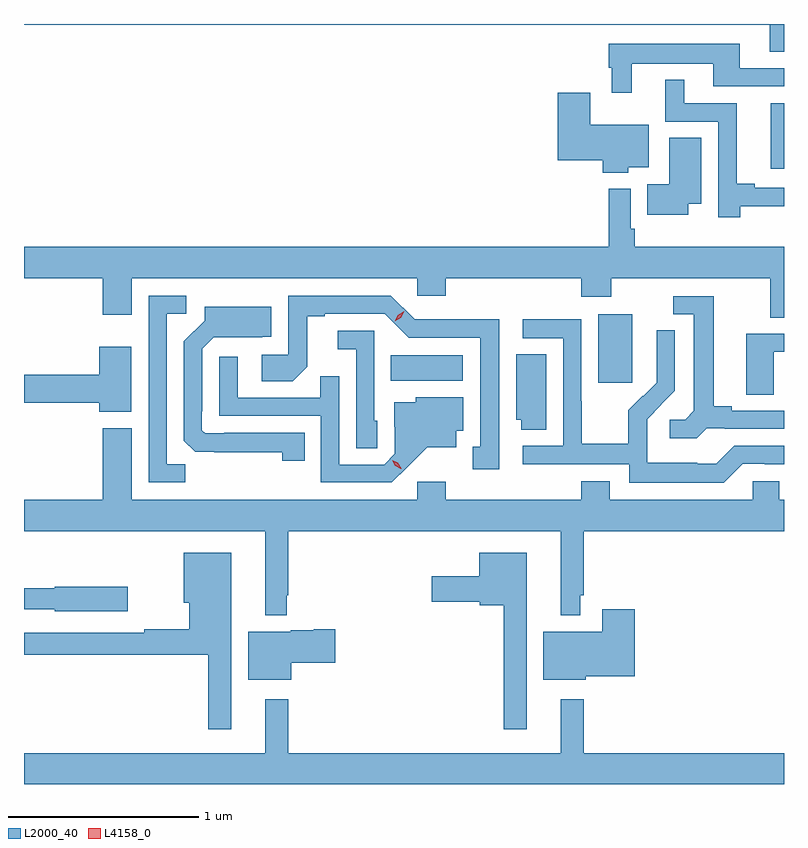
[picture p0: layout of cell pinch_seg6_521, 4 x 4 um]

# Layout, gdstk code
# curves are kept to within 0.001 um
import gdstk
lib = gdstk.Library(unit=1e-6, precision=1e-09)
def R(c, l, rs):  # rectangles x0, y0, x1, y1
    for r in rs: c.add(gdstk.rectangle(r[:2], r[2:], *l))
def P(c, l, *ps):  # polygons
    for p in ps: c.add(gdstk.Polygon(p, *l))
L2000_40 = (2000, 40)
L4158_0 = (4158, 0)

pinch_seg6_521 = lib.new_cell('pinch_seg6_521')
R(pinch_seg6_521, L2000_40, [(768.275,941.457,768.454,941.818), (767.182,941.468,767.563,941.602), (769.184,942.584,769.253,942.928)])
P(pinch_seg6_521, L2000_40, [(769.253,943.345),(765.253,943.345),(765.253,943.34),(769.178,943.34),(769.178,943.198),(769.253,943.198)],
  [(768.451,943.136),(768.881,943.136),(768.881,943.017),(769.253,943.017),(769.253,943.113),(769.021,943.113),(769.021,943.24),(768.33,943.24),(768.33,943.116),(768.347,943.116),(768.347,942.984),(768.451,942.984)],
  [(769.022,942.386),(769.253,942.386),(769.253,942.483),(769.099,942.483),(769.099,942.503),(769.004,942.503),(769.004,942.927),(768.727,942.927),(768.727,943.051),(768.629,943.051),(768.629,942.831),(768.906,942.831),(768.906,942.327),(769.022,942.327)],
  [(768.432,942.59),(768.541,942.59),(768.541,942.814),(768.232,942.814),(768.232,942.982),(768.062,942.982),(768.062,942.629),(768.299,942.629),(768.299,942.563),(768.432,942.563)],
  [(768.748,942.398),(768.817,942.398),(768.817,942.746),(768.65,942.746),(768.65,942.502),(768.532,942.502),(768.532,942.341),(768.748,942.341)],
  [(769.253,942.172),(768.467,942.172),(768.467,942.268),(768.447,942.268),(768.447,942.478),(768.331,942.478),(768.331,942.172),(765.253,942.172),(765.253,942.008),(765.668,942.008),(765.668,941.814),(765.82,941.814),(765.82,942.008),(767.322,942.008),(767.322,941.915),(767.474,941.915),(767.474,942.008),(768.185,942.008),(768.185,941.909),(768.345,941.909),(768.345,942.008),(769.181,942.008),(769.181,941.8),(769.253,941.8)],
  [(766.101,941.027),(766.005,941.027),(766.005,941.82),(766.108,941.82),(766.108,941.916),(765.909,941.916),(765.909,940.932),(766.101,940.932)],
  [(767.755,941.792),(767.532,941.792),(767.532,941.79),(767.31,941.79),(767.184,941.916),(766.644,941.916),(766.644,941.604),(766.503,941.604),(766.503,941.464),(766.667,941.464),(766.743,941.54),(766.743,941.808),(766.837,941.808),(766.837,941.82),(767.151,941.82),(767.277,941.694),(767.654,941.694),(767.654,941.121),(767.615,941.121),(767.615,941.001),(767.755,941.001)],
  [(768.846,941.217),(768.94,941.217),(768.94,941.214),(769.253,941.214),(769.253,941.31),(768.979,941.31),(768.979,941.333),(768.883,941.333),(768.883,941.913),(768.669,941.913),(768.669,941.817),(768.779,941.817),(768.779,941.309),(768.732,941.262),(768.651,941.262),(768.651,941.165),(768.794,941.165)],
  [(766.73,941.193),(766.306,941.193),(766.306,941.19),(766.206,941.19),(766.188,941.208),(766.188,941.308),(766.191,941.308),(766.191,941.637),(766.251,941.697),(766.508,941.696),(766.511,941.699),(766.555,941.699),(766.555,941.857),(766.205,941.857),(766.205,941.784),(766.095,941.674),(766.095,941.152),(766.154,941.093),(766.612,941.092),(766.612,941.046),(766.73,941.046)],
  [(769.035,941.031),(769.151,941.031),(769.151,941.028),(769.253,941.028),(769.253,941.124),(768.99,941.124),(768.897,941.031),(768.797,941.031),(768.797,941.035),(768.534,941.035),(768.534,941.169),(768.532,941.169),(768.532,941.266),(768.678,941.414),(768.678,941.732),(768.582,941.732),(768.582,941.578),(768.584,941.578),(768.584,941.456),(768.513,941.385),(768.51,941.388),(768.433,941.311),(768.433,941.137),(768.189,941.137),(768.189,941.36),(768.186,941.36),(768.186,941.79),(767.877,941.79),(767.877,941.691),(768.09,941.691),(768.09,941.124),(767.877,941.124),(767.877,941.028),(768.438,941.028),(768.438,940.931),(768.935,940.931)],
  [(767.112,941.256),(767.097,941.256),(767.097,941.73),(766.905,941.73),(766.905,941.633),(767.001,941.633),(767.001,941.113),(767.112,941.113)],
  [(769.2,941.619),(769.253,941.619),(769.253,941.715),(769.055,941.715),(769.055,941.395),(769.2,941.395)],
  [(765.817,941.647),(765.65,941.647),(765.65,941.498),(765.253,941.498),(765.253,941.351),(765.65,941.351),(765.65,941.303),(765.817,941.303)],
  [(768.001,941.606),(767.843,941.606),(767.843,941.262),(767.87,941.262),(767.87,941.209),(768.001,941.209)],
  [(767.272,941.015),(767.375,941.117),(767.527,941.117),(767.527,941.204),(767.566,941.204),(767.566,941.38),(767.316,941.38),(767.316,941.353),(767.201,941.353),(767.201,941.224),(767.205,941.224),(767.205,941.082),(767.148,941.025),(766.911,941.025),(766.911,941.492),(766.813,941.492),(766.813,941.379),(766.377,941.379),(766.377,941.593),(766.281,941.593),(766.281,941.283),(766.815,941.283),(766.815,940.932),(767.188,940.932)],
  [(769.253,940.84),(769.227,940.84),(769.227,940.938),(769.089,940.938),(769.089,940.84),(768.337,940.84),(768.337,940.939),(768.185,940.939),(768.185,940.84),(767.474,940.84),(767.474,940.936),(767.322,940.936),(767.322,940.84),(765.82,940.84),(765.82,941.218),(765.668,941.218),(765.668,940.84),(765.253,940.84),(765.253,940.676),(766.523,940.676),(766.523,940.232),(766.637,940.232),(766.637,940.339),(766.645,940.339),(766.645,940.676),(768.077,940.676),(768.077,940.232),(768.181,940.232),(768.181,940.339),(768.199,940.339),(768.199,940.676),(769.253,940.676)],
  [(766.345,940.561),(766.094,940.561),(766.094,940.298),(766.124,940.298),(766.124,940.16),(765.886,940.16),(765.886,940.14),(765.253,940.14),(765.253,940.024),(766.224,940.024),(766.224,939.633),(766.345,939.633)],
  [(767.899,940.561),(767.648,940.561),(767.648,940.438),(767.4,940.438),(767.4,940.304),(767.652,940.304),(767.652,940.286),(767.778,940.286),(767.778,939.633),(767.899,939.633)],
  [(765.799,940.383),(765.414,940.383),(765.414,940.375),(765.253,940.375),(765.253,940.266),(765.414,940.266),(765.414,940.253),(765.799,940.253)],
  [(768.21,939.911),(768.467,939.911),(768.467,940.264),(768.296,940.264),(768.296,940.147),(767.987,940.147),(767.987,939.893),(768.21,939.893)],
  [(766.66,939.982),(766.891,939.982),(766.891,940.16),(766.778,940.16),(766.778,940.153),(766.656,940.153),(766.656,940.147),(766.433,940.147),(766.433,939.893),(766.66,939.893)],
  [(769.253,939.508),(768.199,939.508),(768.199,939.79),(768.077,939.79),(768.077,939.508),(766.645,939.508),(766.645,939.79),(766.523,939.79),(766.523,939.508),(765.253,939.508),(765.253,939.345),(769.253,939.345)])
P(pinch_seg6_521, L4158_0, [(767.204,941.78),(767.204,941.78),(767.221,941.813),(767.253,941.832),(767.253,941.832),(767.253,941.832),(767.236,941.799),(767.205,941.78)],
  [(767.237,941.005),(767.207,941.021),(767.19,941.05),(767.19,941.05),(767.19,941.05),(767.221,941.035),(767.238,941.006),(767.238,941.005)])

lib.write_gds('pinch_seg6_521.gds')
